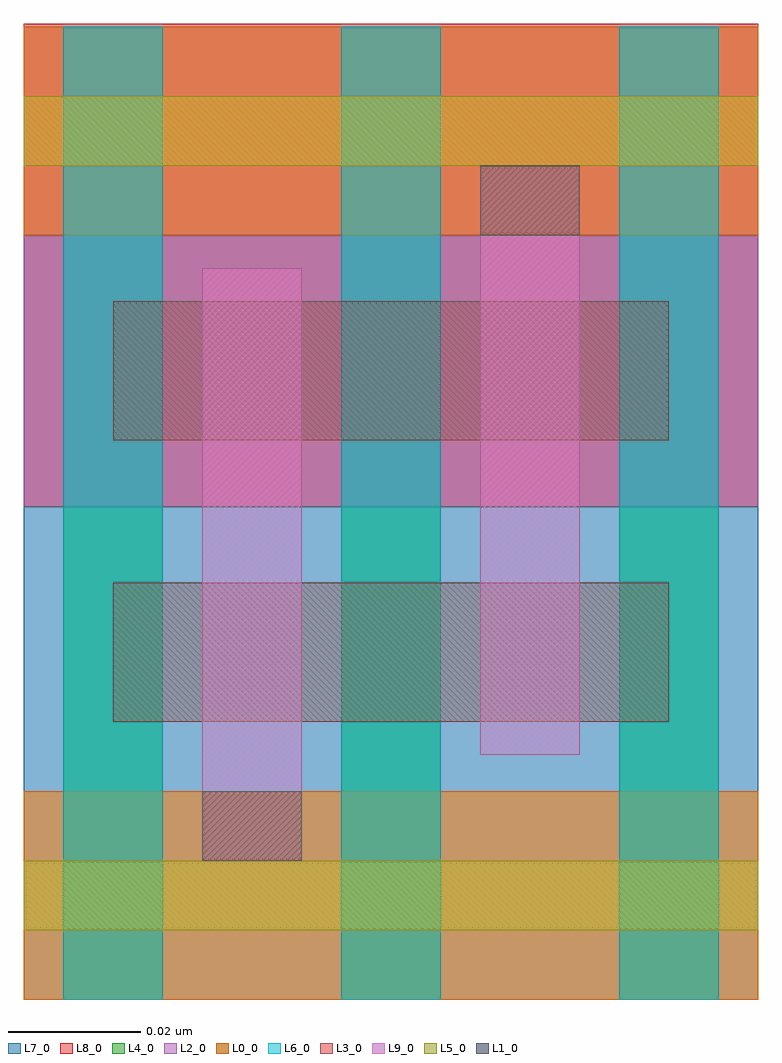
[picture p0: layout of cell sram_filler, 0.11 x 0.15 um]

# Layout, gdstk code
from math import pi, radians
import gdstk
lib = gdstk.Library(unit=1e-6, precision=5e-10)
def R(c, l, rs):  # rectangles x0, y0, x1, y1
    for r in rs: c.add(gdstk.rectangle(r[:2], r[2:], *l))
def A(c, l, x, y, w, h, nx, ny, dx, dy):  # array of equal rectangles
    R(c, l, [(x+i*dx, y+j*dy, x+i*dx+w, y+j*dy+h) for i in range(nx) for j in range(ny)])
L0_0 = (0, 0)
L1_0 = (1, 0)
L2_0 = (2, 0)
L3_0 = (3, 0)
L4_0 = (4, 0)
L5_0 = (5, 0)
L6_0 = (6, 0)
L7_0 = (7, 0)
L8_0 = (8, 0)
L9_0 = (9, 0)

nmos = lib.new_cell('nmos')
R(nmos, L3_0, [(-0.042,-0.0105,0.042,0.0105)])
A(nmos, L4_0, -0.0495, -0.032, 0.015, 0.064, 3, 1, 0.042, 0)
R(nmos, L7_0, [(-0.0555,-0.021,0.0555,0.0205)])
R(nmos, L9_0, [(-0.0285,-0.0155,-0.0135,0.0155), (0.0135,-0.0155,0.0285,0.0155)])

pmos = lib.new_cell('pmos')
R(pmos, L2_0, [(-0.042,-0.0205,0.042,0.0205)])
R(pmos, L3_0, [(-0.042,-0.0105,0.042,0.0105)])
A(pmos, L4_0, -0.0495, -0.032, 0.015, 0.064, 3, 1, 0.042, 0)
R(pmos, L8_0, [(-0.0555,-0.0205,0.0555,0.0205)])
R(pmos, L9_0, [(-0.0285,-0.0155,-0.0135,0.0155), (0.0135,-0.0155,0.0285,0.0155)])

bpr_m0a = lib.new_cell('BPR_M0A')
R(bpr_m0a, L0_0, [(-0.021,-0.0055,0.021,0.026)])
R(bpr_m0a, L1_0, [(-0.0075,-0.0055,0.0075,0.005)])
R(bpr_m0a, L9_0, [(-0.0075,-0.0165,0.0075,0.005)])

sram_filler = lib.new_cell('sram_filler')
R(sram_filler, L0_0, [(0.001,0,0.112,0.0315), (0.072,0.0115,0.084,0.0245), (0.001,0.1155,0.112,0.147), (0.072,0.121,0.0855,0.141)])
R(sram_filler, L2_0, [(0.001,0.0745,0.112,0.147)])
A(sram_filler, L4_0, 0.007, 0, 0.015, 0.147, 3, 1, 0.042, 0)
R(sram_filler, L5_0, [(0.001,0.0105,0.112,0.021), (0.001,0.126,0.112,0.1365)])
A(sram_filler, L6_0, 0.007, 0, 0.015, 0.147, 3, 1, 0.042, 0)
R(sram_filler, L7_0, [(0.001,0,0.112,0.0745)])
R(sram_filler, L8_0, [(0.001,0.075,0.112,0.1475)])
R(sram_filler, L9_0, [(0.028,0.068,0.043,0.0795), (0.07,0.068,0.085,0.0795)])
sram_filler.add(gdstk.Reference(nmos, (0.0565,0.0525)))
sram_filler.add(gdstk.Reference(pmos, (0.0565,0.095)))
sram_filler.add(gdstk.Reference(bpr_m0a, (0.0355,0.026), rotation=pi))
sram_filler.add(gdstk.Reference(bpr_m0a, (0.0775,0.121)))

lib.write_gds('sram_filler.gds')
